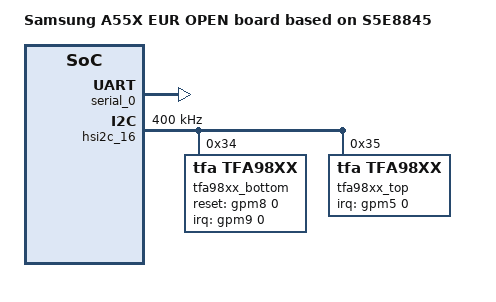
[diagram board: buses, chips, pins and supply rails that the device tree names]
/*
 * SAMSUNG S5E8845 board device tree source
 *
 * Copyright (c) 2023 Samsung Electronics Co., Ltd.
 *		http://www.samsung.com
 *
 * This program is free software; you can redistribute it and/or modify
 * it under the terms of the GNU General Public License version 2 as
 * published by the Free Software Foundation.
 */

#include "s5e8845-a55x_common.dtsi"
//#include "panel/samsung-emulation-video-panel.dtsi"
//#include "../../exynos/board/panel/samsung-s6e3had-1080-2400-command-panel.dtsi"
#include "camera/s5e8845-a55x-camera_00.dtsi"

/ {
	compatible = "samsung,A55X EUR OPEN", "samsung,S5E8845";

	fragment@model {
		target-path = "/";
		__overlay__ {
			#address-cells = <2>;
			#size-cells = <1>;

			model = "Samsung A55X EUR OPEN board based on S5E8845";

			sound {
				uaif1 {
					format = "i2s";
					cpu {
						sound-dai = <&abox_uaif_1>;
					};
					codec {
						sound-dai = <&tfa98xx_bottom 0 &tfa98xx_top 0>;
					};
				};
			};
		}; /* end of __overlay__ */
	}; /* end of fragment */
}; /* end of root */

&serial_0 {
	status = "okay";
};

&drmdsim_0 {
        drmpanel {
                default-panel = "s6e3had_1080_2400_cmd";
        };
};

&pinctrl_1 {
	rcv_amp_en;
	spk_amp_en;

	amp_en: amp-en {
		samsung,pins ="gpm8-0";
		samsung,pin-function = <1>;
		samsung,pin-val = <1>;
		samsung,pin-pud = <0>;
		samsung,pin-con-pdn = <3>;
		samsung,pin-pud-pdn = <0>;
	};
	rcv_amp_int: rcv-amp-int {
		samsung,pins ="gpm5-0";
		samsung,pin-function = <0xf>;
		samsung,pin-pud = <0>;
		samsung,pin-pud-pdn = <0>;
	};
	spk-amp-int {
		samsung,pins ="gpm9-0";
		samsung,pin-function = <0xf>;
		samsung,pin-pud = <0>;
		samsung,pin-pud-pdn = <0>;
	};
};

&hsi2c_16 {
	#address-cells = <1>;
	#size-cells = <0>;
	status = "okay";
	clock-frequency = <400000>;

	tas25xx@48 {
		status = "disabled";
	};

	tfa98xx_bottom: tfa98xx@34 {
		#sound-dai-cells = <1>;
		compatible = "tfa,tfa98xx";
		reg = <0x34>;
		pinctrl-names = "default";
		pinctrl-0 = <&amp_en &spk_amp_int>;
		reset-gpio = <&gpm8 0 0>; /* on primary device */
		irq-gpio = <&gpm9 0 0>;
		dummy-cal = <5800>;
		inchannel = <1>; /* right */
		status = "okay";
	};

	tfa98xx_top: tfa98xx@35 {
		#sound-dai-cells = <1>;
		compatible = "tfa,tfa98xx";
		reg = <0x35>;
		pinctrl-names = "default";
		pinctrl-0 = <&rcv_amp_int>;
		irq-gpio = <&gpm5 0 0>;
		dummy-cal = <5900>;
		inchannel = <0>; /* left */
		status = "okay";
	};
};
&abox {
		samsung,conf-file-name = "abox_solution_rev00.conf", "abox_system.conf";
};
